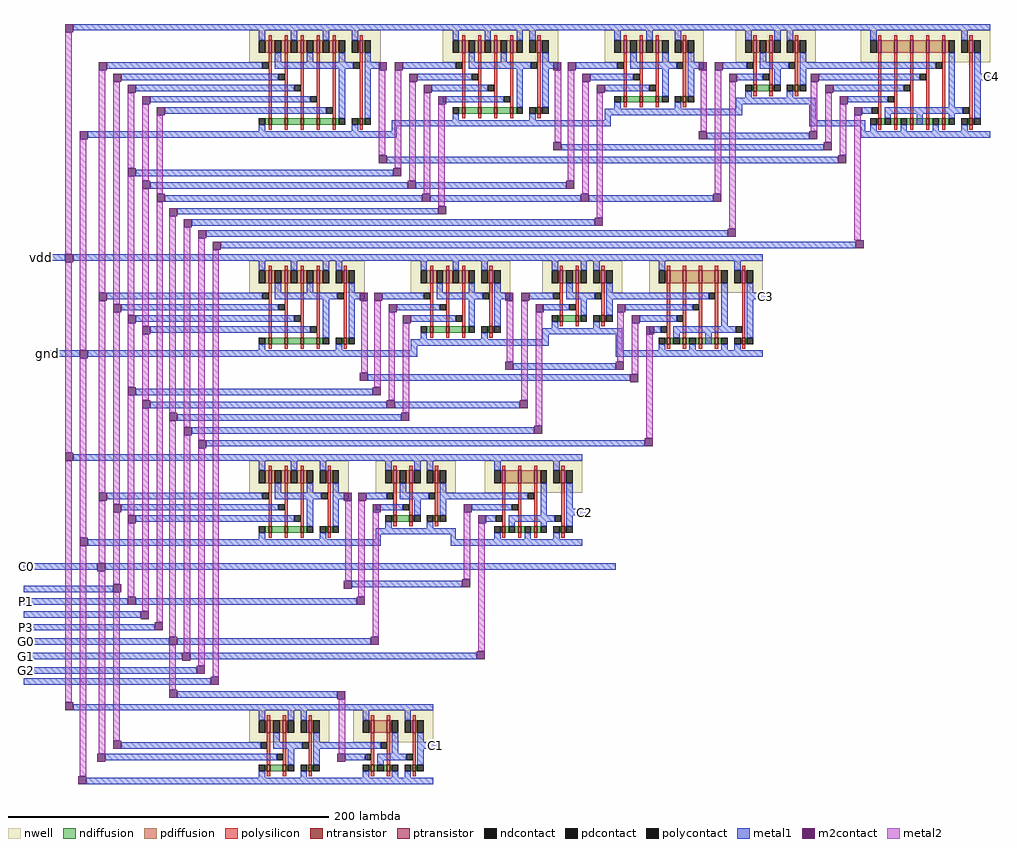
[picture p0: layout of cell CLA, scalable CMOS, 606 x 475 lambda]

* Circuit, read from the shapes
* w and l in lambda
.subckt CLA C0 C1 C2 C3 C4 G0 G1 G2 G3 P0 P1 P2 P3 gnd vdd
M1 n1 P0 gnd VSUBS nfet w=4 l=2
M2 n2 C0 gnd VSUBS nfet w=4 l=2
M3 n3 C0 gnd VSUBS nfet w=4 l=2
M4 n4 C0 gnd VSUBS nfet w=4 l=2
M5 n5 C0 n1 VSUBS nfet w=4 l=2
M6 n6 P0 n2 VSUBS nfet w=4 l=2
M7 n7 P0 n3 VSUBS nfet w=4 l=2
M8 n8 P0 n4 VSUBS nfet w=4 l=2
M9 and3_0/nandout P1 n6 VSUBS nfet w=4 l=2
M10 n9 P1 n7 VSUBS nfet w=4 l=2
M11 n10 P1 n8 VSUBS nfet w=4 l=2
M12 or_0/B n5 gnd VSUBS nfet w=4 l=2
M13 n11 P2 n9 VSUBS nfet w=4 l=2
M14 n12 P2 n10 VSUBS nfet w=4 l=2
M15 or3_0/B and3_0/nandout gnd VSUBS nfet w=4 l=2
M16 n13 P3 n12 VSUBS nfet w=4 l=2
M17 or4_0/B n11 gnd VSUBS nfet w=4 l=2
M18 or5_0/B n13 gnd VSUBS nfet w=4 l=2
M19 n14 G0 gnd VSUBS nfet w=4 l=2
M20 gnd or_0/B n14 VSUBS nfet w=4 l=2
M21 n15 P1 gnd VSUBS nfet w=4 l=2
M22 n16 G0 n15 VSUBS nfet w=4 l=2
M23 C1 n14 gnd VSUBS nfet w=4 l=2
M24 n17 P1 gnd VSUBS nfet w=4 l=2
M25 or3_0/C n16 gnd VSUBS nfet w=4 l=2
M26 n18 P2 n17 VSUBS nfet w=4 l=2
M27 and3_1/nandout G0 n18 VSUBS nfet w=4 l=2
M28 n19 P1 gnd VSUBS nfet w=4 l=2
M29 n20 P2 n19 VSUBS nfet w=4 l=2
M30 or4_0/C and3_1/nandout gnd VSUBS nfet w=4 l=2
M31 n21 P3 n20 VSUBS nfet w=4 l=2
M32 n22 G1 gnd VSUBS nfet w=4 l=2
M33 n23 G0 n21 VSUBS nfet w=4 l=2
M34 gnd or3_0/B n22 VSUBS nfet w=4 l=2
M35 n22 or3_0/C gnd VSUBS nfet w=4 l=2
M36 or5_0/C n23 gnd VSUBS nfet w=4 l=2
M37 n24 P2 gnd VSUBS nfet w=4 l=2
M38 C2 n22 gnd VSUBS nfet w=4 l=2
M39 n25 G1 n24 VSUBS nfet w=4 l=2
M40 or4_0/D n25 gnd VSUBS nfet w=4 l=2
M41 n26 P2 gnd VSUBS nfet w=4 l=2
M42 n27 P3 n26 VSUBS nfet w=4 l=2
M43 and3_2/nandout G1 n27 VSUBS nfet w=4 l=2
M44 n28 G2 gnd VSUBS nfet w=4 l=2
M45 gnd or4_0/B n28 VSUBS nfet w=4 l=2
M46 or5_0/D and3_2/nandout gnd VSUBS nfet w=4 l=2
M47 n29 or4_0/C gnd VSUBS nfet w=4 l=2
M48 gnd or4_0/D n29 VSUBS nfet w=4 l=2
M49 C3 n28 gnd VSUBS nfet w=4 l=2
M50 n30 P3 gnd VSUBS nfet w=4 l=2
M51 n31 G2 n30 VSUBS nfet w=4 l=2
M52 or5_0/E n31 gnd VSUBS nfet w=4 l=2
M53 n32 G3 gnd VSUBS nfet w=4 l=2
M54 gnd or5_0/B n32 VSUBS nfet w=4 l=2
M55 n33 or5_0/C gnd VSUBS nfet w=4 l=2
M56 gnd or5_0/D n33 VSUBS nfet w=4 l=2
M57 n32 or5_0/E gnd VSUBS nfet w=4 l=2
M58 C4 n32 gnd VSUBS nfet w=4 l=2
M59 n5 P0 vdd n34 pfet w=8 l=2
M60 and3_0/nandout C0 vdd n35 pfet w=8 l=2
M61 n11 C0 vdd n36 pfet w=8 l=2
M62 n13 C0 vdd n37 pfet w=8 l=2
M63 vdd C0 n5 n34 pfet w=8 l=2
M64 vdd P0 and3_0/nandout n35 pfet w=8 l=2
M65 vdd P0 n11 n36 pfet w=8 l=2
M66 vdd P0 n13 n37 pfet w=8 l=2
M67 and3_0/nandout P1 vdd n35 pfet w=8 l=2
M68 n11 P1 vdd n36 pfet w=8 l=2
M69 n13 P1 vdd n37 pfet w=8 l=2
M70 or_0/B n5 vdd n34 pfet w=8 l=2
M71 vdd P2 n11 n36 pfet w=8 l=2
M72 vdd P2 n13 n37 pfet w=8 l=2
M73 or3_0/B and3_0/nandout vdd n35 pfet w=8 l=2
M74 n13 P3 vdd n37 pfet w=8 l=2
M75 or4_0/B n11 vdd n36 pfet w=8 l=2
M76 or5_0/B n13 vdd n37 pfet w=8 l=2
M77 n38 G0 vdd n39 pfet w=8 l=2
M78 n14 or_0/B n38 n39 pfet w=8 l=2
M79 n16 P1 vdd n40 pfet w=8 l=2
M80 vdd G0 n16 n40 pfet w=8 l=2
M81 C1 n14 vdd n39 pfet w=8 l=2
M82 and3_1/nandout P1 vdd n41 pfet w=8 l=2
M83 or3_0/C n16 vdd n40 pfet w=8 l=2
M84 vdd P2 and3_1/nandout n41 pfet w=8 l=2
M85 and3_1/nandout G0 vdd n41 pfet w=8 l=2
M86 n23 P1 vdd n42 pfet w=8 l=2
M87 vdd P2 n23 n42 pfet w=8 l=2
M88 or4_0/C and3_1/nandout vdd n41 pfet w=8 l=2
M89 n23 P3 vdd n42 pfet w=8 l=2
M90 n43 G1 vdd n44 pfet w=8 l=2
M91 vdd G0 n23 n42 pfet w=8 l=2
M92 n45 or3_0/B n43 n44 pfet w=8 l=2
M93 n22 or3_0/C n45 n44 pfet w=8 l=2
M94 or5_0/C n23 vdd n42 pfet w=8 l=2
M95 n25 P2 vdd n46 pfet w=8 l=2
M96 C2 n22 vdd n44 pfet w=8 l=2
M97 vdd G1 n25 n46 pfet w=8 l=2
M98 or4_0/D n25 vdd n46 pfet w=8 l=2
M99 and3_2/nandout P2 vdd n47 pfet w=8 l=2
M100 vdd P3 and3_2/nandout n47 pfet w=8 l=2
M101 and3_2/nandout G1 vdd n47 pfet w=8 l=2
M102 n48 G2 vdd n49 pfet w=8 l=2
M103 n50 or4_0/B n48 n49 pfet w=8 l=2
M104 or5_0/D and3_2/nandout vdd n47 pfet w=8 l=2
M105 n51 or4_0/C n50 n49 pfet w=8 l=2
M106 n28 or4_0/D n51 n49 pfet w=8 l=2
M107 C3 n28 vdd n49 pfet w=8 l=2
M108 n31 P3 vdd n52 pfet w=8 l=2
M109 vdd G2 n31 n52 pfet w=8 l=2
M110 or5_0/E n31 vdd n52 pfet w=8 l=2
M111 n53 G3 vdd n54 pfet w=8 l=2
M112 n55 or5_0/B n53 n54 pfet w=8 l=2
M113 n56 or5_0/C n55 n54 pfet w=8 l=2
M114 n57 or5_0/D n56 n54 pfet w=8 l=2
M115 n32 or5_0/E n57 n54 pfet w=8 l=2
M116 C4 n32 vdd n54 pfet w=8 l=2
.ends

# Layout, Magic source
magic
tech scmos
<< metal1 >>
rect -10 324 102 328
rect 180 324 546 328
rect 11 300 101 304
rect 176 300 181 304
rect 196 300 227 304
rect 286 300 290 304
rect 304 300 329 304
rect 396 300 405 304
rect 450 300 482 304
rect 20 293 101 297
rect 205 293 227 297
rect 313 293 331 297
rect 405 293 406 297
rect 456 293 482 297
rect 563 293 565 297
rect 29 286 101 290
rect 214 286 227 290
rect 322 286 334 290
rect 465 286 483 290
rect 38 279 101 283
rect 223 279 231 283
rect 474 279 483 283
rect 47 272 100 276
rect 404 275 408 278
rect 384 271 408 275
rect 322 268 326 271
rect 189 264 227 268
rect 293 264 326 268
rect 450 268 454 278
rect 450 264 485 268
rect 189 261 192 264
rect 482 261 485 264
rect -1 257 103 261
rect 181 257 192 261
rect 386 256 450 260
rect 295 249 459 253
rect 186 241 468 245
rect 29 233 190 237
rect 38 225 199 229
rect 204 225 298 229
rect 47 217 208 221
rect 213 217 307 221
rect 312 217 390 221
rect 55 209 218 213
rect 64 202 316 206
rect 73 195 399 199
rect 82 188 479 192
rect -31 180 -15 184
rect -10 180 421 184
rect 11 156 106 160
rect 165 156 169 160
rect 183 156 208 160
rect 275 156 284 160
rect 329 156 357 160
rect 421 156 424 160
rect 20 149 106 153
rect 192 149 210 153
rect 284 149 285 153
rect 335 149 356 153
rect 29 142 106 146
rect 201 142 213 146
rect 344 142 356 146
rect 38 135 110 139
rect 283 131 287 134
rect 263 127 287 131
rect 201 124 205 127
rect -27 120 -6 124
rect -1 120 106 124
rect 172 120 205 124
rect 329 124 333 134
rect 329 120 357 124
rect 265 112 329 116
rect 174 105 338 109
rect 29 96 177 100
rect 38 88 186 92
rect 191 88 269 92
rect 55 80 195 84
rect 64 72 278 76
rect 73 64 347 68
rect -10 55 251 59
rect 11 31 101 35
rect 155 31 159 35
rect 173 31 183 35
rect 227 31 248 35
rect 20 24 100 28
rect 182 24 184 28
rect 222 27 223 31
rect 239 24 248 28
rect 308 21 311 25
rect 29 17 103 21
rect 179 6 182 9
rect -1 2 182 6
rect 226 6 229 9
rect 226 2 252 6
rect -41 -13 5 -9
rect 10 -13 329 -9
rect -41 -27 15 -23
rect 164 -24 233 -20
rect -41 -35 24 -31
rect 29 -35 167 -31
rect -41 -43 32 -39
rect -41 -51 41 -47
rect -41 -60 50 -56
rect 55 -60 176 -56
rect -41 -69 58 -65
rect 63 -69 242 -65
rect -41 -78 67 -74
rect -41 -85 76 -81
rect 55 -93 155 -89
rect -10 -101 191 -97
rect 20 -125 107 -121
rect 150 -125 174 -121
rect 215 -125 218 -121
rect 10 -132 117 -128
rect 160 -132 173 -128
rect -2 -147 191 -143
<< m2contact >>
rect -15 323 -10 328
rect 6 299 11 304
rect 181 299 186 304
rect 191 299 196 304
rect 290 299 295 304
rect 299 299 304 304
rect 381 299 386 304
rect 391 299 396 304
rect 15 292 20 297
rect 200 292 205 297
rect 308 292 313 297
rect 400 292 405 297
rect 451 292 456 297
rect 24 285 29 290
rect 209 285 214 290
rect 317 285 322 290
rect 460 285 465 290
rect 33 278 38 283
rect 218 278 223 283
rect 469 278 474 283
rect 42 271 47 276
rect 478 271 483 276
rect -6 256 -1 261
rect 381 256 386 261
rect 450 256 455 261
rect 290 249 295 254
rect 459 249 464 254
rect 181 241 186 246
rect 468 241 473 246
rect 24 233 29 238
rect 190 233 195 238
rect 33 225 38 230
rect 199 225 204 230
rect 298 225 303 230
rect 42 217 47 222
rect 208 217 213 222
rect 307 217 312 222
rect 390 217 395 222
rect 50 208 55 213
rect 218 209 223 214
rect 59 201 64 206
rect 316 202 321 207
rect 68 194 73 199
rect 399 195 404 200
rect 77 187 82 192
rect 479 188 484 193
rect -15 179 -10 184
rect 6 155 11 160
rect 169 155 174 160
rect 178 155 183 160
rect 260 155 265 160
rect 270 155 275 160
rect 15 148 20 153
rect 187 148 192 153
rect 279 148 284 153
rect 330 148 335 153
rect 24 141 29 146
rect 196 141 201 146
rect 339 141 344 146
rect 33 134 38 139
rect 348 134 353 139
rect -6 119 -1 124
rect 260 112 265 117
rect 329 112 334 117
rect 169 105 174 110
rect 338 104 343 109
rect 24 96 29 101
rect 177 96 182 101
rect 33 88 38 93
rect 186 88 191 93
rect 269 88 274 93
rect 50 80 55 85
rect 195 80 200 85
rect 59 71 64 76
rect 278 72 283 77
rect 68 63 73 68
rect 347 64 352 69
rect -15 55 -10 60
rect 6 30 11 35
rect 159 30 164 35
rect 168 30 173 35
rect 15 23 20 28
rect 177 23 182 28
rect 234 23 239 28
rect 24 16 29 21
rect 243 16 248 21
rect -6 2 -1 7
rect 5 -14 10 -9
rect 15 -27 20 -22
rect 159 -25 164 -20
rect 233 -24 238 -19
rect 24 -35 29 -30
rect 167 -35 172 -30
rect 32 -44 37 -39
rect 41 -51 46 -46
rect 50 -60 55 -55
rect 176 -60 181 -55
rect 58 -70 63 -65
rect 242 -69 247 -64
rect 67 -78 72 -73
rect 76 -85 81 -80
rect 50 -93 55 -88
rect 155 -94 160 -89
rect -15 -101 -10 -96
rect 15 -125 20 -120
rect 5 -133 10 -128
rect 155 -133 160 -128
rect -7 -147 -2 -142
<< metal2 >>
rect -15 184 -11 323
rect -15 60 -11 179
rect -6 124 -2 256
rect 6 160 10 299
rect -15 -96 -11 55
rect -6 7 -2 119
rect 6 35 10 155
rect 15 153 19 292
rect 24 238 28 285
rect -6 -142 -2 2
rect 6 -9 10 30
rect 6 -128 10 -14
rect 15 28 19 148
rect 24 146 28 233
rect 33 230 37 278
rect 24 101 28 141
rect 33 139 37 225
rect 42 222 46 271
rect 181 246 185 299
rect 191 238 195 299
rect 200 230 204 292
rect 209 222 213 285
rect 15 -22 19 23
rect 24 21 28 96
rect 33 93 37 134
rect 15 -120 19 -27
rect 24 -30 28 16
rect 33 -39 37 88
rect 42 -46 46 217
rect 218 214 222 278
rect 291 254 295 299
rect 299 230 303 299
rect 308 222 312 292
rect 50 85 54 208
rect 317 207 321 285
rect 382 261 386 299
rect 391 222 395 299
rect 50 -55 54 80
rect 59 76 63 201
rect 400 200 404 292
rect 451 261 455 292
rect 460 254 464 285
rect 469 246 473 278
rect 50 -88 54 -60
rect 59 -65 63 71
rect 68 68 72 194
rect 478 193 482 271
rect 68 -73 72 63
rect 77 -80 81 187
rect 170 110 174 155
rect 178 101 182 155
rect 187 93 191 148
rect 196 85 200 141
rect 261 117 265 155
rect 270 93 274 155
rect 279 77 283 148
rect 330 117 334 148
rect 339 109 343 141
rect 348 69 352 134
rect 160 -20 164 30
rect 168 -30 172 30
rect 177 -55 181 23
rect 234 -19 238 23
rect 243 -64 247 16
rect 156 -128 160 -94
use and5  and5_0
transform 1 0 100 0 1 304
box 0 -47 82 24
use and4  and4_1
transform 1 0 221 0 1 304
box 0 -40 72 24
use and3  and3_2
transform 1 0 322 0 1 304
box 0 -33 62 24
use and  and_3
transform 1 0 404 0 1 301
box 0 -23 50 27
use or5  or5_0
transform 1 0 482 0 1 301
box 0 -44 81 27
use and4  and4_0
transform 1 0 100 0 1 160
box 0 -40 72 24
use and3  and3_1
transform 1 0 201 0 1 160
box 0 -33 62 24
use and  and_2
transform 1 0 283 0 1 157
box 0 -23 50 27
use or4  or4_0
transform 1 0 350 0 1 157
box 0 -37 71 27
use and3  and3_0
transform 1 0 100 0 1 35
box 0 -33 62 24
use and  and_1
transform 1 0 179 0 1 32
box 0 -23 50 27
use or3  or3_0
transform 1 0 247 0 1 32
box 0 -30 61 27
use and  and_0
transform 1 0 100 0 1 -124
box 0 -23 50 27
use or  or_0
transform 1 0 165 0 1 -124
box 0 -23 50 27
<< labels >>
rlabel metal1 -31 180 -29 184 5 vdd
rlabel metal1 -27 120 -25 124 1 gnd
rlabel metal1 421 156 424 160 7 C3
rlabel metal1 308 21 311 25 1 C2
rlabel metal1 564 295 564 295 7 C4
rlabel metal1 -41 -78 -38 -74 3 G2
rlabel metal1 -41 -85 -38 -81 3 G3
rlabel metal1 -41 -69 -38 -65 3 G1
rlabel metal1 -41 -60 -38 -56 3 G0
rlabel metal1 -41 -51 -38 -47 3 P3
rlabel metal1 -41 -43 -38 -39 3 P2
rlabel metal1 -41 -35 -38 -31 3 P1
rlabel metal1 -41 -27 -38 -23 3 P0
rlabel metal1 215 -125 218 -121 1 C1
rlabel metal1 -41 -13 -38 -9 3 C0
<< end >>

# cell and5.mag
magic
tech scmos
<< nwell >>
rect 0 0 82 20
<< ntransistor >>
rect 12 -39 14 -35
rect 22 -39 24 -35
rect 32 -39 34 -35
rect 42 -39 44 -35
rect 52 -39 54 -35
rect 69 -39 71 -35
<< ptransistor >>
rect 12 6 14 14
rect 22 6 24 14
rect 32 6 34 14
rect 42 6 44 14
rect 52 6 54 14
rect 69 6 71 14
<< ndiffusion >>
rect 10 -39 12 -35
rect 14 -39 22 -35
rect 24 -39 32 -35
rect 34 -39 42 -35
rect 44 -39 52 -35
rect 54 -39 56 -35
rect 68 -39 69 -35
rect 71 -39 72 -35
<< pdiffusion >>
rect 10 6 12 14
rect 14 6 16 14
rect 20 6 22 14
rect 24 6 26 14
rect 30 6 32 14
rect 34 6 36 14
rect 40 6 42 14
rect 44 6 46 14
rect 50 6 52 14
rect 54 6 56 14
rect 68 6 69 14
rect 71 6 72 14
<< ndcontact >>
rect 6 -39 10 -35
rect 56 -39 60 -35
rect 64 -39 68 -35
rect 72 -39 76 -35
<< pdcontact >>
rect 6 6 10 14
rect 16 6 20 14
rect 26 6 30 14
rect 36 6 40 14
rect 46 6 50 14
rect 56 6 60 14
rect 64 6 68 14
rect 72 6 76 14
<< polysilicon >>
rect 12 14 14 17
rect 22 14 24 17
rect 32 14 34 17
rect 42 14 44 17
rect 52 14 54 17
rect 69 14 71 17
rect 12 -35 14 6
rect 22 -35 24 6
rect 32 -35 34 6
rect 42 -35 44 6
rect 52 -35 54 6
rect 69 -35 71 6
rect 12 -42 14 -39
rect 22 -42 24 -39
rect 32 -42 34 -39
rect 42 -42 44 -39
rect 52 -42 54 -39
rect 69 -42 71 -39
<< polycontact >>
rect 8 -4 12 0
rect 18 -11 22 -7
rect 28 -18 32 -14
rect 38 -25 42 -21
rect 48 -32 52 -28
rect 65 -4 69 0
<< metal1 >>
rect 0 20 82 24
rect 6 14 10 20
rect 26 14 30 20
rect 46 14 50 20
rect 64 14 68 20
rect 16 0 20 6
rect 36 0 40 6
rect 56 0 60 6
rect 72 0 76 6
rect 0 -4 8 0
rect 16 -4 65 0
rect 72 -4 82 0
rect 0 -11 18 -7
rect 0 -18 28 -14
rect 0 -25 38 -21
rect 0 -32 48 -28
rect 56 -35 60 -4
rect 72 -35 76 -4
rect 6 -43 10 -39
rect 64 -43 68 -39
rect 0 -47 82 -43
<< labels >>
rlabel metal1 1 -9 1 -9 3 B
rlabel metal1 2 22 2 22 4 vdd
rlabel metal1 1 -23 1 -23 3 D
rlabel metal1 1 -16 1 -16 3 C
rlabel metal1 1 -2 1 -2 3 A
rlabel metal1 80 -2 80 -2 7 out
rlabel metal1 2 -45 2 -45 2 gnd
rlabel metal1 1 -30 1 -30 3 E
<< end >>

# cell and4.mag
magic
tech scmos
<< nwell >>
rect 0 0 72 20
<< ntransistor >>
rect 12 -32 14 -28
rect 22 -32 24 -28
rect 32 -32 34 -28
rect 42 -32 44 -28
rect 59 -32 61 -28
<< ptransistor >>
rect 12 6 14 14
rect 22 6 24 14
rect 32 6 34 14
rect 42 6 44 14
rect 59 6 61 14
<< ndiffusion >>
rect 10 -32 12 -28
rect 14 -32 22 -28
rect 24 -32 32 -28
rect 34 -32 42 -28
rect 44 -32 46 -28
rect 58 -32 59 -28
rect 61 -32 62 -28
<< pdiffusion >>
rect 10 6 12 14
rect 14 6 16 14
rect 20 6 22 14
rect 24 6 26 14
rect 30 6 32 14
rect 34 6 36 14
rect 40 6 42 14
rect 44 6 46 14
rect 58 6 59 14
rect 61 6 62 14
<< ndcontact >>
rect 6 -32 10 -28
rect 46 -32 50 -28
rect 54 -32 58 -28
rect 62 -32 66 -28
<< pdcontact >>
rect 6 6 10 14
rect 16 6 20 14
rect 26 6 30 14
rect 36 6 40 14
rect 46 6 50 14
rect 54 6 58 14
rect 62 6 66 14
<< polysilicon >>
rect 12 14 14 17
rect 22 14 24 17
rect 32 14 34 17
rect 42 14 44 17
rect 59 14 61 17
rect 12 -28 14 6
rect 22 -28 24 6
rect 32 -28 34 6
rect 42 -28 44 6
rect 59 -28 61 6
rect 12 -35 14 -32
rect 22 -35 24 -32
rect 32 -35 34 -32
rect 42 -35 44 -32
rect 59 -35 61 -32
<< polycontact >>
rect 8 -4 12 0
rect 18 -11 22 -7
rect 28 -18 32 -14
rect 38 -25 42 -21
rect 55 -4 59 0
<< metal1 >>
rect 0 20 72 24
rect 6 14 10 20
rect 26 14 30 20
rect 46 14 50 20
rect 54 14 58 20
rect 16 0 20 6
rect 36 0 40 6
rect 62 0 66 6
rect 0 -4 8 0
rect 16 -4 55 0
rect 62 -4 72 0
rect 0 -11 18 -7
rect 0 -18 28 -14
rect 0 -25 38 -21
rect 46 -28 50 -4
rect 62 -28 66 -4
rect 6 -36 10 -32
rect 54 -36 58 -32
rect 0 -40 72 -36
<< labels >>
rlabel metal1 1 -2 1 -2 3 A
rlabel metal1 1 -9 1 -9 3 B
rlabel metal1 2 22 2 22 4 vdd
rlabel metal1 2 -38 2 -38 2 gnd
rlabel metal1 1 -23 1 -23 3 D
rlabel metal1 70 -2 70 -2 7 out
rlabel metal1 1 -16 1 -16 3 C
<< end >>

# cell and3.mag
magic
tech scmos
<< nwell >>
rect 0 0 62 20
<< ntransistor >>
rect 12 -25 14 -21
rect 22 -25 24 -21
rect 32 -25 34 -21
rect 49 -25 51 -21
<< ptransistor >>
rect 12 6 14 14
rect 22 6 24 14
rect 32 6 34 14
rect 49 6 51 14
<< ndiffusion >>
rect 10 -25 12 -21
rect 14 -25 22 -21
rect 24 -25 32 -21
rect 34 -25 36 -21
rect 48 -25 49 -21
rect 51 -25 52 -21
<< pdiffusion >>
rect 10 6 12 14
rect 14 6 16 14
rect 20 6 22 14
rect 24 6 26 14
rect 30 6 32 14
rect 34 6 36 14
rect 48 6 49 14
rect 51 6 52 14
<< ndcontact >>
rect 6 -25 10 -21
rect 36 -25 40 -21
rect 44 -25 48 -21
rect 52 -25 56 -21
<< pdcontact >>
rect 6 6 10 14
rect 16 6 20 14
rect 26 6 30 14
rect 36 6 40 14
rect 44 6 48 14
rect 52 6 56 14
<< polysilicon >>
rect 12 14 14 17
rect 22 14 24 17
rect 32 14 34 17
rect 49 14 51 17
rect 12 -21 14 6
rect 22 -21 24 6
rect 32 -21 34 6
rect 49 -21 51 6
rect 12 -28 14 -25
rect 22 -28 24 -25
rect 32 -28 34 -25
rect 49 -28 51 -25
<< polycontact >>
rect 8 -4 12 0
rect 18 -11 22 -7
rect 28 -18 32 -14
rect 45 -4 49 0
<< metal1 >>
rect 0 20 62 24
rect 6 14 10 20
rect 26 14 30 20
rect 44 14 48 20
rect 16 0 20 6
rect 36 0 40 6
rect 52 0 56 6
rect 0 -4 8 0
rect 16 -4 45 0
rect 52 -4 62 0
rect 0 -11 18 -7
rect 0 -18 28 -14
rect 36 -21 40 -4
rect 52 -21 56 -4
rect 6 -29 10 -25
rect 44 -29 48 -25
rect 0 -33 62 -29
<< labels >>
rlabel metal1 1 -2 1 -2 3 A
rlabel metal1 1 -9 1 -9 3 B
rlabel metal1 2 22 2 22 4 vdd
rlabel metal1 2 -31 2 -31 2 gnd
rlabel metal1 60 -2 60 -2 7 out
rlabel metal1 41 -2 41 -2 1 nandout
rlabel metal1 1 -16 1 -16 3 C
<< end >>

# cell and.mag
magic
tech scmos
<< nwell >>
rect 0 3 50 23
<< ntransistor >>
rect 11 -15 13 -11
rect 21 -15 23 -11
rect 37 -15 39 -11
<< ptransistor >>
rect 11 9 13 17
rect 21 9 23 17
rect 37 9 39 17
<< ndiffusion >>
rect 10 -15 11 -11
rect 13 -15 21 -11
rect 23 -15 24 -11
rect 36 -15 37 -11
rect 39 -15 40 -11
<< pdiffusion >>
rect 10 9 11 17
rect 13 9 15 17
rect 19 9 21 17
rect 23 9 24 17
rect 36 9 37 17
rect 39 9 40 17
<< ndcontact >>
rect 6 -15 10 -11
rect 24 -15 28 -11
rect 32 -15 36 -11
rect 40 -15 44 -11
<< pdcontact >>
rect 6 9 10 17
rect 15 9 19 17
rect 24 9 28 17
rect 32 9 36 17
rect 40 9 44 17
<< polysilicon >>
rect 11 17 13 20
rect 21 17 23 20
rect 37 17 39 20
rect 11 -11 13 9
rect 21 -11 23 9
rect 37 -11 39 9
rect 11 -18 13 -15
rect 21 -18 23 -15
rect 37 -18 39 -15
<< polycontact >>
rect 7 -1 11 3
rect 17 -8 21 -4
rect 33 -1 37 3
<< metal1 >>
rect 0 23 50 27
rect 6 17 10 23
rect 24 17 28 23
rect 32 17 36 23
rect 15 3 19 9
rect 40 3 44 9
rect 0 -1 7 3
rect 15 -1 33 3
rect 40 -1 50 3
rect 0 -8 17 -4
rect 24 -11 28 -1
rect 40 -11 44 -1
rect 6 -19 10 -15
rect 32 -19 36 -15
rect 0 -23 50 -19
<< labels >>
rlabel metal1 1 25 1 25 4 vdd
rlabel metal1 16 -6 16 -6 1 B
rlabel metal1 6 1 6 1 1 A
rlabel metal1 1 -21 1 -21 2 gnd
rlabel metal1 46 0 46 0 7 andout
<< end >>

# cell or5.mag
magic
tech scmos
<< nwell >>
rect 0 3 81 23
<< ntransistor >>
rect 11 -36 13 -32
rect 21 -36 23 -32
rect 31 -36 33 -32
rect 41 -36 43 -32
rect 51 -36 53 -32
rect 68 -36 70 -32
<< ptransistor >>
rect 11 9 13 17
rect 21 9 23 17
rect 31 9 33 17
rect 41 9 43 17
rect 51 9 53 17
rect 68 9 70 17
<< ndiffusion >>
rect 10 -36 11 -32
rect 13 -36 15 -32
rect 19 -36 21 -32
rect 23 -36 25 -32
rect 29 -36 31 -32
rect 33 -36 41 -32
rect 43 -36 45 -32
rect 49 -36 51 -32
rect 53 -36 55 -32
rect 67 -36 68 -32
rect 70 -36 71 -32
<< pdiffusion >>
rect 10 9 11 17
rect 13 9 21 17
rect 23 9 31 17
rect 33 9 41 17
rect 43 9 51 17
rect 53 9 55 17
rect 67 9 68 17
rect 70 9 71 17
<< ndcontact >>
rect 6 -36 10 -32
rect 15 -36 19 -32
rect 25 -36 29 -32
rect 45 -36 49 -32
rect 55 -36 59 -32
rect 63 -36 67 -32
rect 71 -36 75 -32
<< pdcontact >>
rect 6 9 10 17
rect 55 9 59 17
rect 63 9 67 17
rect 71 9 75 17
<< polysilicon >>
rect 11 17 13 20
rect 21 17 23 20
rect 31 17 33 20
rect 41 17 43 20
rect 51 17 53 20
rect 68 17 70 20
rect 11 -32 13 9
rect 21 -32 23 9
rect 31 -32 33 9
rect 41 -32 43 9
rect 51 -32 53 9
rect 68 -32 70 9
rect 11 -39 13 -36
rect 21 -39 23 -36
rect 31 -39 33 -36
rect 41 -39 43 -36
rect 51 -39 53 -36
rect 68 -39 70 -36
<< polycontact >>
rect 7 -29 11 -25
rect 17 -22 21 -18
rect 27 -15 31 -11
rect 37 -8 41 -4
rect 47 -1 51 3
rect 64 -29 68 -25
<< metal1 >>
rect 0 23 81 27
rect 6 17 10 23
rect 63 17 67 23
rect 0 -1 47 3
rect 0 -8 37 -4
rect 0 -15 27 -11
rect 0 -22 17 -18
rect 55 -25 59 9
rect 71 -4 75 9
rect 71 -8 81 -4
rect 0 -29 7 -25
rect 15 -29 64 -25
rect 15 -32 19 -29
rect 35 -36 39 -29
rect 55 -32 59 -29
rect 71 -32 75 -8
rect 6 -40 10 -36
rect 25 -40 29 -36
rect 45 -40 49 -36
rect 63 -40 67 -36
rect 0 -44 81 -40
<< labels >>
rlabel metal1 1 25 1 25 4 vdd
rlabel metal1 29 25 29 25 4 vdd
rlabel metal1 1 -6 1 -6 3 D
rlabel metal1 1 -42 1 -42 2 gnd
rlabel metal1 2 -13 2 -13 3 C
rlabel metal1 2 -20 2 -20 3 B
rlabel metal1 2 -27 2 -27 3 A
rlabel metal1 77 -6 77 -6 7 orout
rlabel metal1 1 1 1 1 3 E
<< end >>

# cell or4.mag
magic
tech scmos
<< nwell >>
rect 0 3 71 23
<< ntransistor >>
rect 11 -29 13 -25
rect 21 -29 23 -25
rect 31 -29 33 -25
rect 41 -29 43 -25
rect 58 -29 60 -25
<< ptransistor >>
rect 11 9 13 17
rect 21 9 23 17
rect 31 9 33 17
rect 41 9 43 17
rect 58 9 60 17
<< ndiffusion >>
rect 10 -29 11 -25
rect 13 -29 15 -25
rect 19 -29 21 -25
rect 23 -29 25 -25
rect 29 -29 31 -25
rect 33 -29 41 -25
rect 43 -29 45 -25
rect 57 -29 58 -25
rect 60 -29 61 -25
<< pdiffusion >>
rect 10 9 11 17
rect 13 9 21 17
rect 23 9 31 17
rect 33 9 41 17
rect 43 9 45 17
rect 57 9 58 17
rect 60 9 61 17
<< ndcontact >>
rect 6 -29 10 -25
rect 15 -29 19 -25
rect 25 -29 29 -25
rect 45 -29 49 -25
rect 53 -29 57 -25
rect 61 -29 65 -25
<< pdcontact >>
rect 6 9 10 17
rect 45 9 49 17
rect 53 9 57 17
rect 61 9 65 17
<< polysilicon >>
rect 11 17 13 20
rect 21 17 23 20
rect 31 17 33 20
rect 41 17 43 20
rect 58 17 60 20
rect 11 -25 13 9
rect 21 -25 23 9
rect 31 -25 33 9
rect 41 -25 43 9
rect 58 -25 60 9
rect 11 -32 13 -29
rect 21 -32 23 -29
rect 31 -32 33 -29
rect 41 -32 43 -29
rect 58 -32 60 -29
<< polycontact >>
rect 7 -22 11 -18
rect 17 -15 21 -11
rect 27 -8 31 -4
rect 37 -1 41 3
rect 54 -22 58 -18
<< metal1 >>
rect 0 23 71 27
rect 6 17 10 23
rect 53 17 57 23
rect 0 -1 37 3
rect 0 -8 27 -4
rect 0 -15 17 -11
rect 45 -18 49 9
rect 61 3 65 9
rect 61 -1 71 3
rect 0 -22 7 -18
rect 15 -22 54 -18
rect 15 -25 19 -22
rect 35 -29 39 -22
rect 61 -25 65 -1
rect 6 -33 10 -29
rect 25 -33 29 -29
rect 45 -33 49 -29
rect 53 -33 57 -29
rect 0 -37 71 -33
<< labels >>
rlabel metal1 1 25 1 25 4 vdd
rlabel metal1 29 25 29 25 4 vdd
rlabel metal1 1 1 1 1 3 D
rlabel metal1 1 -35 1 -35 2 gnd
rlabel metal1 2 -6 2 -6 3 C
rlabel metal1 2 -13 2 -13 3 B
rlabel metal1 2 -20 2 -20 3 A
rlabel metal1 67 1 67 1 7 orout
<< end >>

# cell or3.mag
magic
tech scmos
<< nwell >>
rect 0 3 61 23
<< ntransistor >>
rect 11 -22 13 -18
rect 21 -22 23 -18
rect 31 -22 33 -18
rect 48 -22 50 -18
<< ptransistor >>
rect 11 9 13 17
rect 21 9 23 17
rect 31 9 33 17
rect 48 9 50 17
<< ndiffusion >>
rect 10 -22 11 -18
rect 13 -22 15 -18
rect 19 -22 21 -18
rect 23 -22 25 -18
rect 29 -22 31 -18
rect 33 -22 35 -18
rect 47 -22 48 -18
rect 50 -22 51 -18
<< pdiffusion >>
rect 10 9 11 17
rect 13 9 21 17
rect 23 9 31 17
rect 33 9 35 17
rect 47 9 48 17
rect 50 9 51 17
<< ndcontact >>
rect 6 -22 10 -18
rect 15 -22 19 -18
rect 25 -22 29 -18
rect 35 -22 39 -18
rect 43 -22 47 -18
rect 51 -22 55 -18
<< pdcontact >>
rect 6 9 10 17
rect 35 9 39 17
rect 43 9 47 17
rect 51 9 55 17
<< polysilicon >>
rect 11 17 13 20
rect 21 17 23 20
rect 31 17 33 20
rect 48 17 50 20
rect 11 -18 13 9
rect 21 -18 23 9
rect 31 -18 33 9
rect 48 -18 50 9
rect 11 -25 13 -22
rect 21 -25 23 -22
rect 31 -25 33 -22
rect 48 -25 50 -22
<< polycontact >>
rect 7 -15 11 -11
rect 17 -8 21 -4
rect 27 -1 31 3
rect 44 -15 48 -11
<< metal1 >>
rect 0 23 61 27
rect 6 17 10 23
rect 43 17 47 23
rect 0 -1 27 3
rect 0 -8 17 -4
rect 35 -11 39 9
rect 51 -7 55 9
rect 51 -11 61 -7
rect 0 -15 7 -11
rect 15 -15 44 -11
rect 15 -18 19 -15
rect 35 -18 39 -15
rect 51 -18 55 -11
rect 6 -26 10 -22
rect 25 -26 29 -22
rect 43 -26 47 -22
rect 0 -30 61 -26
<< labels >>
rlabel metal1 1 25 1 25 4 vdd
rlabel metal1 29 25 29 25 4 vdd
rlabel metal1 1 -28 1 -28 2 gnd
rlabel metal1 57 -9 57 -9 7 orout
rlabel metal1 2 1 2 1 3 C
rlabel metal1 2 -6 2 -6 3 B
rlabel metal1 2 -13 2 -13 3 A
<< end >>

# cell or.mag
magic
tech scmos
<< nwell >>
rect 0 3 50 23
<< ntransistor >>
rect 11 -15 13 -11
rect 21 -15 23 -11
rect 37 -15 39 -11
<< ptransistor >>
rect 11 9 13 17
rect 21 9 23 17
rect 37 9 39 17
<< ndiffusion >>
rect 10 -15 11 -11
rect 13 -15 15 -11
rect 19 -15 21 -11
rect 23 -15 24 -11
rect 36 -15 37 -11
rect 39 -15 40 -11
<< pdiffusion >>
rect 10 9 11 17
rect 13 9 21 17
rect 23 9 24 17
rect 36 9 37 17
rect 39 9 40 17
<< ndcontact >>
rect 6 -15 10 -11
rect 15 -15 19 -11
rect 24 -15 28 -11
rect 32 -15 36 -11
rect 40 -15 44 -11
<< pdcontact >>
rect 6 9 10 17
rect 24 9 28 17
rect 32 9 36 17
rect 40 9 44 17
<< polysilicon >>
rect 11 17 13 20
rect 21 17 23 20
rect 37 17 39 20
rect 11 -11 13 9
rect 21 -11 23 9
rect 37 -11 39 9
rect 11 -18 13 -15
rect 21 -18 23 -15
rect 37 -18 39 -15
<< polycontact >>
rect 7 -8 11 -4
rect 17 -1 21 3
rect 33 -8 37 -4
<< metal1 >>
rect 0 23 50 27
rect 6 17 10 23
rect 32 17 36 23
rect 0 -1 17 3
rect 24 -4 28 9
rect 40 3 44 9
rect 40 -1 50 3
rect 0 -8 7 -4
rect 15 -8 33 -4
rect 15 -11 19 -8
rect 40 -11 44 -1
rect 6 -19 10 -15
rect 24 -19 28 -15
rect 32 -19 36 -15
rect 0 -23 50 -19
<< labels >>
rlabel metal1 1 25 1 25 4 vdd
rlabel metal1 29 25 29 25 4 vdd
rlabel metal1 16 1 16 1 1 B
rlabel metal1 1 -21 1 -21 2 gnd
rlabel metal1 6 -6 6 -6 1 A
rlabel metal1 46 1 46 1 7 orout
<< end >>
